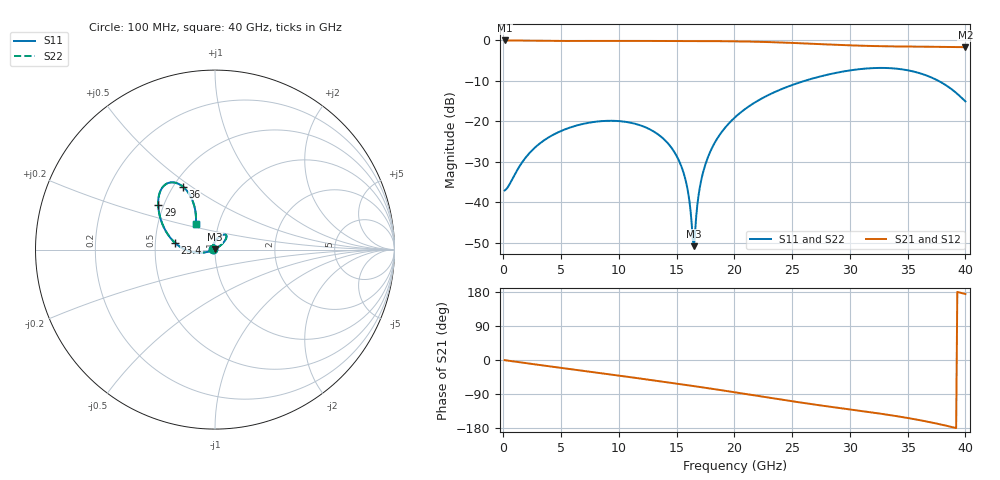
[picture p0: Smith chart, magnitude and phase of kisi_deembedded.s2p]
! C_s8_ap1200: kisi-fdtd, de-embedded with the 2×thru
# Hz S RI R 50
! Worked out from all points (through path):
!   400 points, 100 MHz to 40 GHz, reference 50 ohm
!   highest |S21| = -0.05 dB at 100 MHz (marker M1); lowest = -1.7 dB at 40 GHz (marker M2)
!   group delay of S21, straight-line fit = 12.5 ps
!   lowest |S11| = -50.8 dB at 16.5 GHz (marker M3), VSWR 1.01, Z = 49.8 + j0.212 ohm
!   |S11| at or under -10 dB: start of sweep to 26.1 GHz; 37.66 GHz to end of sweep
!   |S22| runs from -50.8 to -6.8 dB; largest |S21 - S12| = 2.3e-07
!   S11 on the Smith chart (normalised r, x): 100 MHz: 0.97, +0.00; 23.4 GHz: 0.63, +0.05; 29 GHz: 0.47, +0.28; 36 GHz: 0.56, +0.46; 40 GHz: 0.78, +0.23
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1e8  -0.0139 0.00194  0.9948 -0.00749  0.9948 -0.00749  -0.0139 0.00194
2.9e9  0.00288 0.0498  0.9644 -0.2089  0.9644 -0.2089  0.00288 0.0498
6.8e9  0.0432 0.0816  0.8671 -0.4581  0.8671 -0.4581  0.0432 0.0816
1.05e10  0.064 0.0754  0.7155 -0.6728  0.7155 -0.6728  0.064 0.0754
1.34e10  0.0519 0.0452  0.5552 -0.8082  0.5552 -0.8082  0.0519 0.0452
1.47e10  0.0348 0.0269  0.4739 -0.8574  0.4739 -0.8574  0.0348 0.0269
1.56e10  0.0183 0.0141  0.4143 -0.8871  0.4143 -0.8871  0.0183 0.0141
1.61e10  0.0075 0.00726  0.3799 -0.9019  0.3799 -0.9019  0.0075 0.00726
1.64e10  0.000481 0.00338  0.3589 -0.9102  0.3589 -0.9102  0.000481 0.00338
1.65e10  -0.00195 0.00213  0.3518 -0.9129  0.3518 -0.9129  -0.00195 0.00213
1.67e10  -0.00693 -0.000302  0.3376 -0.9181  0.3376 -0.9181  -0.00693 -0.000302
1.69e10  -0.0121 -0.00263  0.3232 -0.923  0.3232 -0.923  -0.0121 -0.00263
1.75e10  -0.0285 -0.00884  0.2791 -0.9365  0.2791 -0.9365  -0.0285 -0.00884
1.85e10  -0.0588 -0.016  0.2032 -0.954  0.2032 -0.954  -0.0588 -0.016
2.01e10  -0.1126 -0.0162  0.0764 -0.9671  0.0764 -0.9671  -0.1126 -0.0162
2.34e10  -0.2234 0.0383  -0.1855 -0.9275  -0.1855 -0.9275  -0.2234 0.0383
2.67e10  -0.2977 0.1544  -0.4047 -0.8106  -0.4047 -0.8106  -0.2977 0.1544
2.9e10  -0.3165 0.247  -0.5199 -0.7062  -0.5199 -0.7062  -0.3165 0.247
3.34e10  -0.2612 0.3708  -0.6901 -0.4819  -0.6901 -0.4819  -0.2612 0.3708
3.6e10  -0.1794 0.3509  -0.776 -0.3056  -0.776 -0.3056  -0.1794 0.3509
3.81e10  -0.122 0.2645  -0.8202 -0.1198  -0.8202 -0.1198  -0.122 0.2645
4e10  -0.1068 0.1402  -0.817 0.0851  -0.817 0.0851  -0.1068 0.1402
